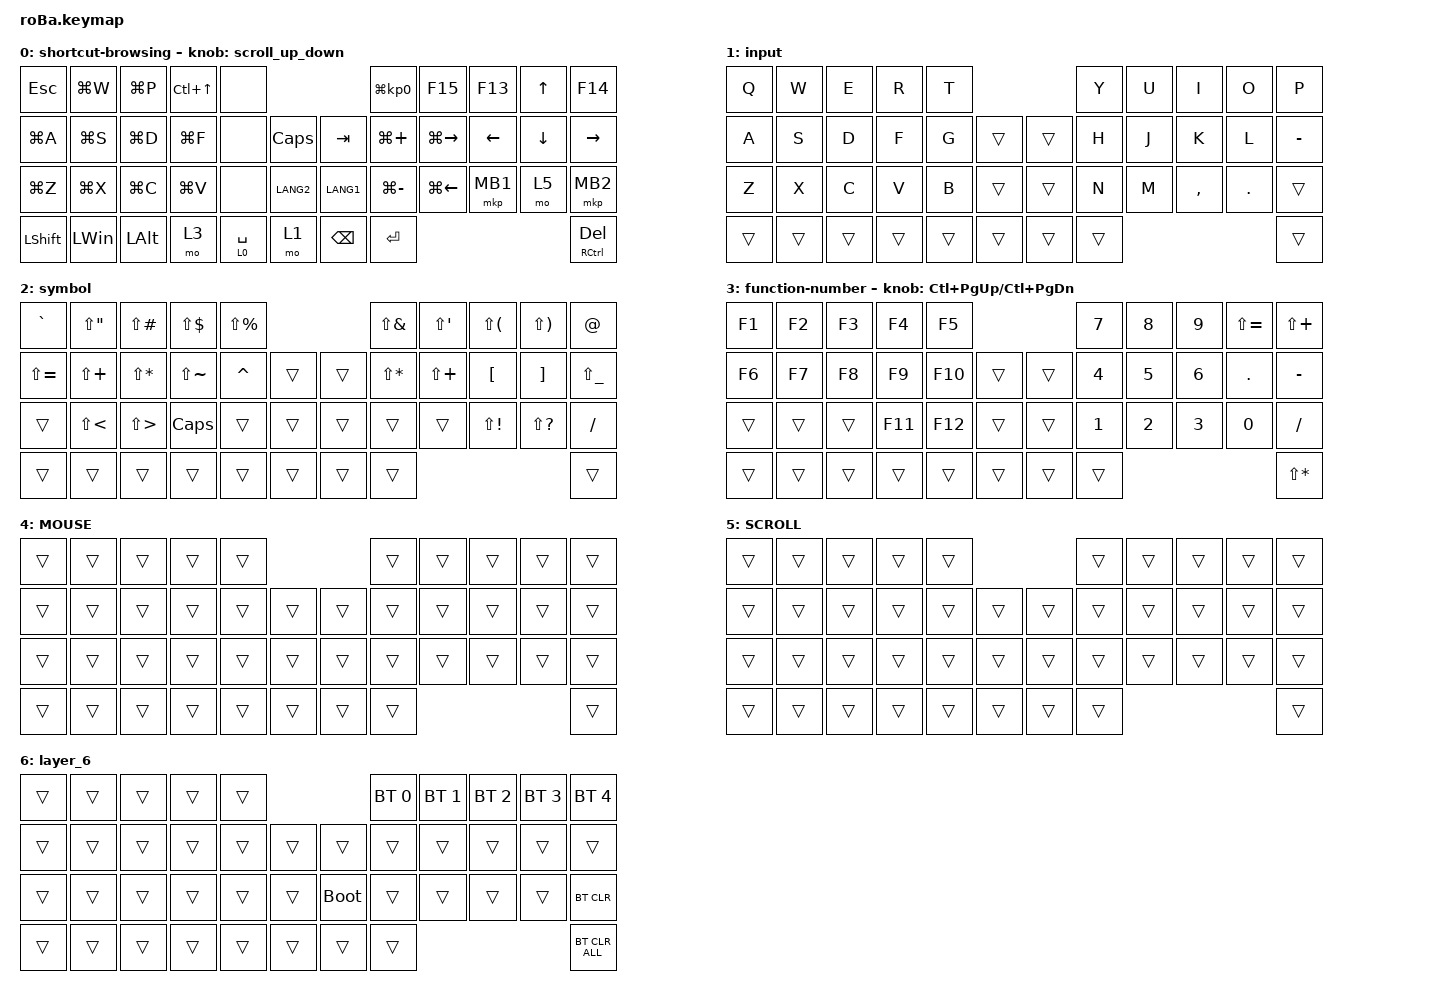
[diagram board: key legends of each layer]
#include <behaviors.dtsi>
#include <dt-bindings/zmk/bt.h>
#include <dt-bindings/zmk/keys.h>
#include <dt-bindings/zmk/pointing.h>

#define MOUSE 4
#define SCROLL 5
#define NUM 6

&mt {
    flavor = "balanced";
    quick-tap-ms = <0>;
};

/ {
    combos {
        compatible = "zmk,combos";

        tab {
            bindings = <&kp TAB>;
            key-positions = <11 12>;
        };

        shift_tab {
            bindings = <&kp LS(TAB)>;
            key-positions = <12 13>;
        };

        double_quotation {
            bindings = <&kp DOUBLE_QUOTES>;
            key-positions = <20 21>;
        };

        eq {
            bindings = <&kp EQUAL>;
            key-positions = <24 25>;
        };
    };

    behaviors {
        lt_to_layer_0: lt_to_layer_0 {
            compatible = "zmk,behavior-hold-tap";
            label = "LAYER_TAP_TO_0";
            bindings = <&mo>, <&to_layer_0>;

            #binding-cells = <2>;
            tapping-term-ms = <200>;
        };

        scroll_up_down: behavior_sensor_rotate_mouse_wheel_up_down {
            compatible = "zmk,behavior-sensor-rotate";
            #sensor-binding-cells = <&inc_dec_kp>;
            bindings = <&msc SCRL_UP>, <&msc SCRL_DOWN>;

            // 追加: スクロールのタップ時間を設定 (20ms)

            tap-ms = <20>;
        };
    };

    keymap {
        compatible = "zmk,keymap";

        shortcut-browsing {
            bindings = <
&kp ESCAPE      &kp LG(W)     &kp LG(P)     &kp LC(UP)  &none                                         &kp LG(KP_NUMBER_0)  &kp F15        &kp F13   &kp UP    &kp F14
&kp LG(A)       &kp LG(S)     &kp LG(D)     &kp LG(F)   &none        &kp CAPSLOCK      &kp TAB        &kp LG(PLUS)         &kp LG(RIGHT)  &kp LEFT  &kp DOWN  &kp RIGHT
&kp LG(Z)       &kp LG(X)     &kp LG(C)     &kp LG(V)   &none        &kp LANG2         &kp LANG1      &kp LG(MINUS)        &kp LG(LEFT)   &mkp MB1  &mo 5     &mkp MB2
&kp LEFT_SHIFT  &kp LEFT_WIN  &kp LEFT_ALT  &mo 3       &lt 0 SPACE  &mo 1             &kp BACKSPACE  &kp ENTER                                               &mt RCTRL DELETE
            >;

            sensor-bindings = <&scroll_up_down>;
        };

        input {
            bindings = <
&kp Q   &kp W   &kp E   &kp R   &kp T                       &kp Y   &kp U  &kp I      &kp O       &kp P
&kp A   &kp S   &kp D   &kp F   &kp G   &trans      &trans  &kp H   &kp J  &kp K      &kp L       &kp MINUS
&kp Z   &kp X   &kp C   &kp V   &kp B   &trans      &trans  &kp N   &kp M  &kp COMMA  &kp PERIOD  &trans
&trans  &trans  &trans  &trans  &trans  &trans      &trans  &trans                                &trans
            >;
        };

        symbol {
            bindings = <
&kp GRAVE      &kp LS(DQT)   &kp LS(POUND)  &kp LS(DLLR)   &kp LS(PRCNT)                      &kp LS(AMPS)  &kp LS(SQT)   &kp LS(LPAR)  &kp LS(RPAR)   &kp AT
&kp LS(EQUAL)  &kp LS(PLUS)  &kp LS(STAR)   &kp LS(TILDE)  &kp CARET      &trans      &trans  &kp LS(STAR)  &kp LS(PLUS)  &kp LBKT      &kp RBKT       &kp LS(UNDER)
&trans         &kp LS(LT)    &kp LS(GT)     &kp CAPS       &trans         &trans      &trans  &trans        &trans        &kp LS(EXCL)  &kp LS(QMARK)  &kp FSLH
&trans         &trans        &trans         &trans         &trans         &trans      &trans  &trans                                                   &trans
            >;
        };

        function-number {
            bindings = <
&kp F1  &kp F2  &kp F3  &kp F4   &kp F5                       &kp N7  &kp N8  &kp N9  &kp LS(EQUAL)  &kp LS(PLUS)
&kp F6  &kp F7  &kp F8  &kp F9   &kp F10  &trans      &trans  &kp N4  &kp N5  &kp N6  &kp DOT        &kp MINUS
&trans  &trans  &trans  &kp F11  &kp F12  &trans      &trans  &kp N1  &kp N2  &kp N3  &kp N0         &kp FSLH
&trans  &trans  &trans  &trans   &trans   &trans      &trans  &trans                                 &kp LS(STAR)
            >;

            sensor-bindings = <&inc_dec_kp LC(PAGE_UP) LC(PAGE_DOWN)>;
        };

        MOUSE {
            bindings = <
&trans  &trans  &trans  &trans  &trans                      &trans  &trans  &trans  &trans  &trans
&trans  &trans  &trans  &trans  &trans  &trans      &trans  &trans  &trans  &trans  &trans  &trans
&trans  &trans  &trans  &trans  &trans  &trans      &trans  &trans  &trans  &trans  &trans  &trans
&trans  &trans  &trans  &trans  &trans  &trans      &trans  &trans                          &trans
            >;
        };

        SCROLL {
            bindings = <
&trans  &trans  &trans  &trans  &trans                      &trans  &trans  &trans  &trans  &trans
&trans  &trans  &trans  &trans  &trans  &trans      &trans  &trans  &trans  &trans  &trans  &trans
&trans  &trans  &trans  &trans  &trans  &trans      &trans  &trans  &trans  &trans  &trans  &trans
&trans  &trans  &trans  &trans  &trans  &trans      &trans  &trans                          &trans
            >;
        };

        layer_6 {
            bindings = <
&trans  &trans  &trans  &trans  &trans                           &bt BT_SEL 0  &bt BT_SEL 1  &bt BT_SEL 2  &bt BT_SEL 3  &bt BT_SEL 4
&trans  &trans  &trans  &trans  &trans  &trans      &trans       &trans        &trans        &trans        &trans        &trans
&trans  &trans  &trans  &trans  &trans  &trans      &bootloader  &trans        &trans        &trans        &trans        &bt BT_CLR
&trans  &trans  &trans  &trans  &trans  &trans      &trans       &trans                                                  &bt BT_CLR_ALL
            >;
        };
    };
};
